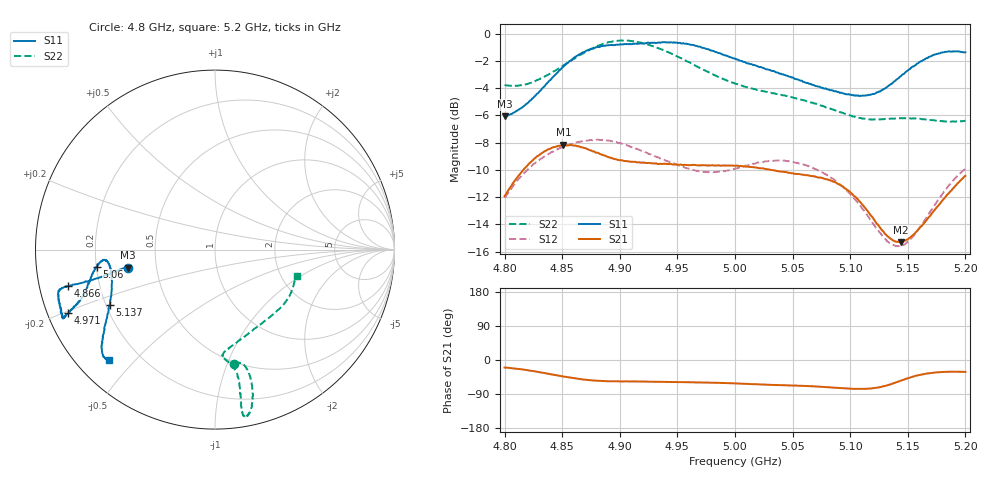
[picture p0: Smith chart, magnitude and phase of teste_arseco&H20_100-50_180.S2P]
! Network Analyzer HP8722D
! Hewlett-Packard
! Data name: Linha & Wilkinson
! Saver's name: Rodrigo Anjos
! Comments: Teste da utilização de aquisição
! continua pelo VNA HP8722D
! Time and date: 6/5/2025 14:04
!  Frequency  S11  S21  S12  S22
# HZ  S  MA R 50
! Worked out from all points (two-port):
!   401 points, 4.8 GHz to 5.2 GHz, reference 50 ohm
!   highest |S21| = -8.16 dB at 4.851 GHz (marker M1); lowest = -15.3 dB at 5.144 GHz (marker M2)
!   |S21| within 3 dB of the highest: 4.806 GHz to 5.092 GHz (286.3 MHz wide, 5.78 % of centre); 5.191491 GHz to end of sweep
!   lowest |S11| = -6.1 dB at 4.8 GHz (marker M3), VSWR 2.98, Z = 17 - j4.55 ohm
!   |S11| at or under -10 dB: nowhere
!   |S22| runs from -6.5 to -0.5 dB; largest |S21 - S12| = 0.62
!   S11 on the Smith chart (normalised r, x): 4.8 GHz: 0.34, -0.09; 4.866 GHz: 0.09, -0.12; 4.971 GHz: 0.06, -0.21; 5.06 GHz: 0.20, -0.07; 5.137 GHz: 0.22, -0.23; 5.2 GHz: 0.09, -0.42
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4.8e9  0.4971 -168.3  0.2532 -19.9  0.2494 -141.0  0.6483 -80.4
4.824e9  0.5785 -167.6  0.3417 -28.8  0.3285 -144.3  0.6633 -75.9
4.851e9  0.7567 -166.0  0.3909 -43.6  0.3849 -149.5  0.7657 -74.5
4.866e9  0.8438 -166.0  0.3834 -50.5  0.4018 -152.0  0.8377 -75.4
4.867e9  0.8503 -166.0  0.3827 -50.9  0.4025 -152.2  0.8424 -75.5
4.881e9  0.8949 -165.5  0.3658 -54.8  0.4084 -154.6  0.9045 -77.0
4.899e9  0.9124 -162.9  0.3436 -56.6  0.3974 -156.9  0.9436 -79.2
4.934e9  0.9292 -156.6  0.3322 -57.7  0.3503 -155.8  0.8827 -80.5
4.971e9  0.8898 -156.6  0.3284 -59.4  0.3118 -146.6  0.7437 -79.7
5e9  0.8105 -159.1  0.3275 -61.8  0.3197 -137.4  0.6562 -81.3
5.035e9  0.7235 -165.4  0.3141 -65.9  0.342 -134.5  0.6027 -85.6
5.06e9  0.6638 -171.8  0.3031 -68.4  0.3303 -136.3  0.5693 -84.3
5.067e9  0.6494 -173.2  0.3003 -69.2  0.3222 -136.9  0.5579 -82.6
5.087e9  0.6151 -174.6  0.2846 -73.1  0.2888 -138.7  0.5229 -74.9
5.103e9  0.5948 -171.6  0.254 -76.1  0.2494 -138.8  0.4971 -65.2
5.116e9  0.5971 -165.5  0.2205 -75.9  0.212 -135.6  0.4854 -55.8
5.134e9  0.6472 -154.3  0.1783 -65.2  0.1703 -120.7  0.4872 -43.2
5.137e9  0.6611 -152.4  0.1741 -62.2  0.1676 -116.7  0.488 -41.5
5.144e9  0.6996 -148.9  0.1715 -54.4  0.1658 -107.5  0.4894 -37.5
5.155e9  0.7585 -144.1  0.1828 -43.7  0.1807 -94.0  0.4884 -31.9
5.174e9  0.8401 -138.6  0.2273 -32.9  0.2372 -80.5  0.48 -23.9
5.2e9  0.855 -133.8  0.3007 -31.6  0.3197 -77.0  0.4788 -17.6
